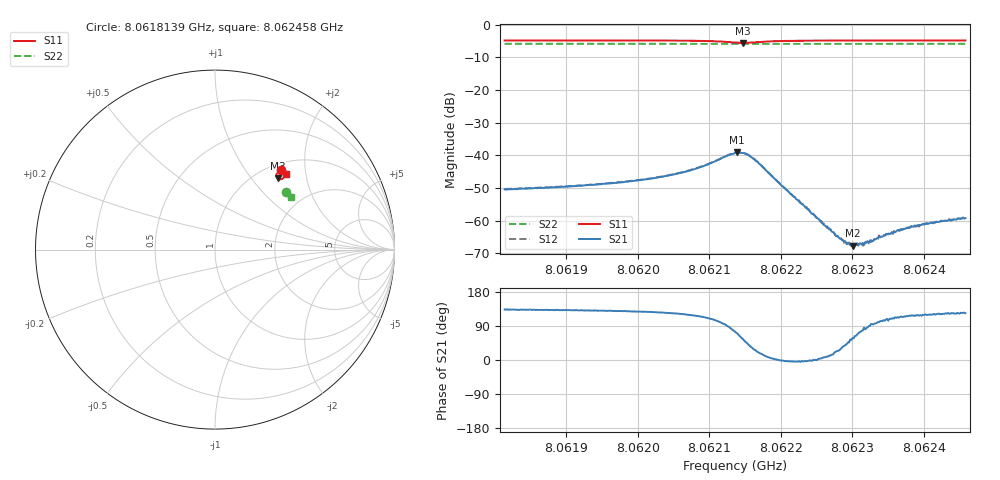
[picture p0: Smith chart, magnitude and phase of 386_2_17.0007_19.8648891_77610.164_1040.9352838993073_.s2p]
#  HZ  S  RI  R  50.00
! Rohde & Schwarz Vector Network Analyzer
! Rohde-Schwarz,ZNB20-2Port,1311601062101988,3.16
! Created: UTC 3/20/2024, 11:09:21 PM
! freq[Hz]  re:S11  im:S11  re:S21  im:S21  re:S12  im:S12  re:S22  im:S22
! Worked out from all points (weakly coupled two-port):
!   401 points, 8.0618139 GHz to 8.062458 GHz, reference 50 ohm
!   highest |S21| = -39.06 dB at 8.0621392 GHz (marker M1); lowest = -67.7 dB at 8.0623002 GHz (marker M2)
!   lowest |S11| = -5.5 dB at 8.0621472 GHz (marker M3), VSWR 3.24, Z = 62.2 + j68.4 ohm
!   |S11| at or under -10 dB: nowhere
!   |S22| runs from -5.9 to -5.8 dB; largest |S21 - S12| = 0.00085
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8.0618139e9  0.365 0.4456  -0.00207 0.0022  -0.00193 0.00236  0.3981 0.3227
8.0619218e9  0.3726 0.4391  -0.00226 0.00259  -0.00212 0.00276  0.4022 0.3173
8.06197816e9  0.3767 0.4348  -0.00245 0.00301  -0.00228 0.0032  0.4041 0.3145
8.06202969e9  0.3811 0.4293  -0.0027 0.00378  -0.00248 0.00399  0.4063 0.3118
8.06208122e9  0.3857 0.4188  -0.00284 0.0056  -0.0025 0.00582  0.4081 0.3088
8.06213598e9  0.3658 0.3915  0.00283 0.0105  0.00352 0.0104  0.4087 0.3053
8.0621392e9  0.3613 0.3916  0.00381 0.0105  0.00459 0.0101  0.4086 0.3052
8.06214725e9  0.35 0.3962  0.00623 0.00892  0.00681 0.00854  0.4084 0.3051
8.0621553e9  0.3431 0.4062  0.00776 0.00644  0.0081 0.00606  0.4085 0.3054
8.06216657e9  0.3431 0.4207  0.00749 0.00306  0.00766 0.00254  0.4092 0.3054
8.06224387e9  0.3729 0.4344  0.00127 -4.83e-05  0.0013 -0.000121  0.4132 0.3019
8.0622793e9  0.3785 0.4321  0.000533 0.000236  0.000543 0.000217  0.4146 0.3
8.06229057e9  0.3798 0.4314  0.000368 0.000306  0.000359 0.000272  0.415 0.2995
8.06230023e9  0.3809 0.4306  0.000222 0.00035  0.000293 0.000331  0.4154 0.299
8.06231472e9  0.3824 0.4296  9.24e-05 0.000448  8.84e-05 0.000406  0.4159 0.2982
8.06232117e9  0.3831 0.4293  3.57e-05 0.000485  4.75e-05 0.000488  0.4161 0.2978
8.062326e9  0.3835 0.429  -4.44e-05 0.000503  2.74e-05 0.000473  0.4164 0.2977
8.06233405e9  0.3843 0.4285  -7.06e-05 0.000532  -4.56e-05 0.00053  0.4166 0.2971
8.06235176e9  0.3858 0.4274  -0.000203 0.0006  -0.000161 0.000588  0.4173 0.2962
8.0623727e9  0.3874 0.4261  -0.000317 0.000683  -0.000266 0.000713  0.4181 0.2952
8.06240812e9  0.3901 0.424  -0.00046 0.000791  -0.000429 0.000834  0.4194 0.2934
8.06245804e9  0.3935 0.4212  -0.000607 0.000911  -0.000561 0.000922  0.421 0.2908
